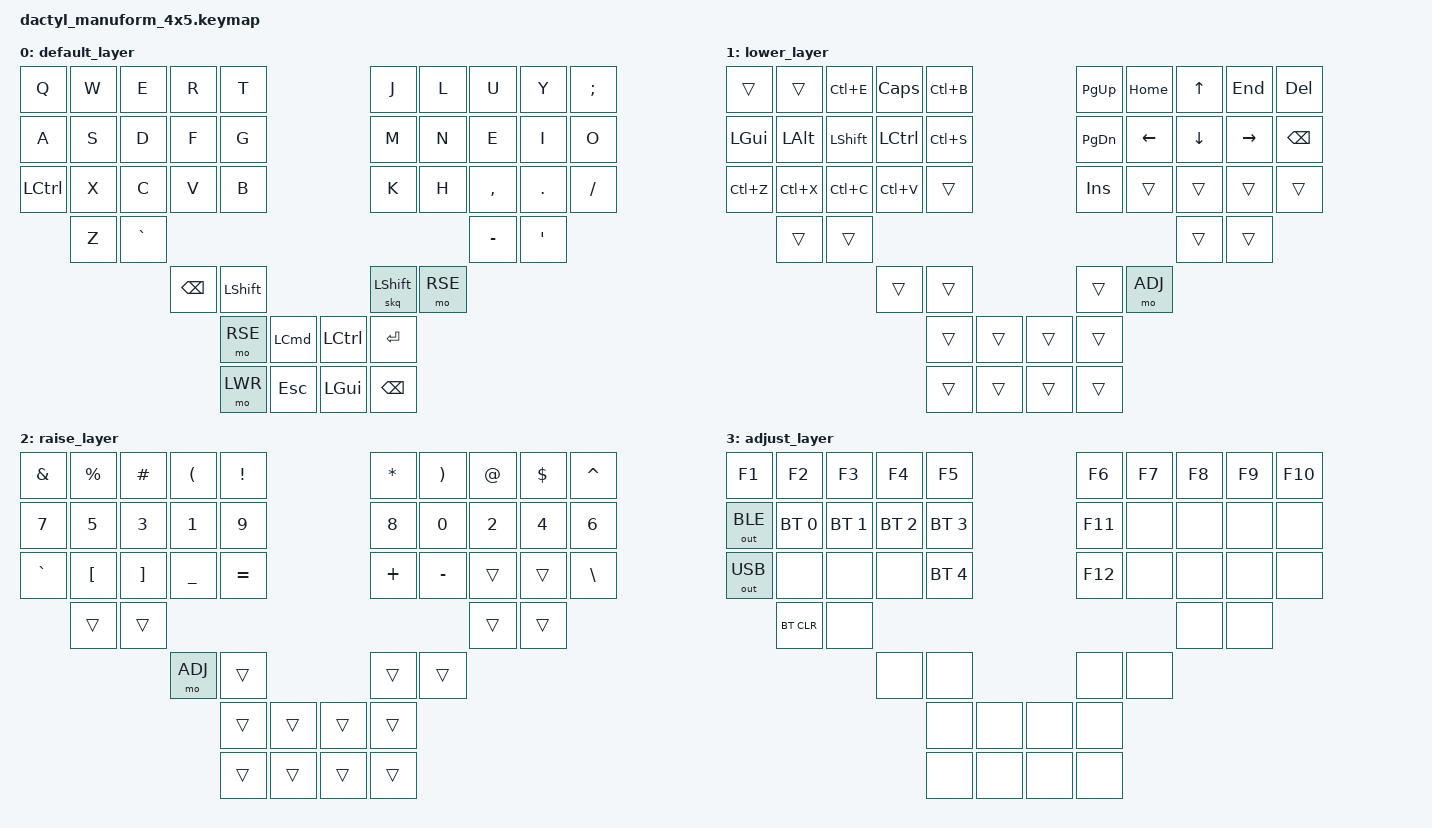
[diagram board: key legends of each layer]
#include <behaviors.dtsi>
#include <dt-bindings/zmk/keys.h>
#include <dt-bindings/zmk/bt.h>
#include <dt-bindings/zmk/outputs.h>

#define DEFAULT 0
#define LWR 1
#define RSE 2
#define ADJ 3

/ {
  behaviors {
    skq: sticky_key_quick_release {
		compatible = "zmk,behavior-sticky-key";
		label = "STICKY_KEY_QUICK_RELEASE";
		#binding-cells = <1>;
		bindings = <&kp>;
		release-after-ms = <500>;
		quick-release;
    };
	pht: positional_hold_tap {
		compatible = "zmk,behavior-hold-tap";
		label = "POSITIONAL_HOLD_TAP";
		#binding-cells = <2>;
		flavor = "hold-preferred";
		tapping-term-ms = <200>;
		quick-tap-ms = <200>;
		bindings = <&kp>, <&kp>;
	};
  };

    keymap {
        compatible = "zmk,keymap";

        default_layer {
            bindings = <
                &kp Q  &kp W   &kp E  &kp R  &kp T                                  &kp J  &kp L  &kp U     &kp Y   &kp SEMI
                &kp A  &kp S   &kp D  &kp F  &kp G                                  &kp M  &kp N  &kp E     &kp I   &kp O
             &kp LCTRL &kp X   &kp C  &kp V  &kp B                                  &kp K  &kp H  &kp COMMA &kp DOT &kp FSLH
                       &kp Z   &kp GRAVE                                                          &kp MINUS &kp SQT
                                        &kp BSPC  &kp LSHFT                      &skq LSHFT &mo RSE
                                                  &mo RSE   &kp LCMD   &kp LCTRL &kp RET
                                                  &mo LWR   &kp ESC    &kp LGUI  &kp BSPC
            >;
        };

        lower_layer {
            bindings = <
                &trans    &trans    &kp LC(E) &kp CAPS  &kp LC(B)      &kp PG_UP &kp HOME  &kp UP    &kp END   &kp DEL
                &kp LGUI  &kp LALT  &kp LSHFT &kp LCTRL &kp LC(S)      &kp PG_DN &kp LEFT  &kp DOWN  &kp RIGHT &kp BSPC
                &kp LC(Z) &kp LC(X) &kp LC(C) &kp LC(V) &trans         &kp INS   &trans    &trans    &trans    &trans
                          &trans    &trans                                                 &trans    &trans
                                             &trans &trans                    &trans &mo ADJ
                                                    &trans &trans      &trans &trans
                                                    &trans &trans      &trans &trans
            >;
        };

        raise_layer {
            bindings = <
    &kp AMPS  &kp PRCNT &kp HASH   &kp LPAR  &kp EXCL                      &kp ASTRK &kp RPAR  &kp AT    &kp DLLR  &kp CARET
    &kp N7    &kp N5    &kp N3     &kp N1    &kp N9                        &kp N8    &kp N0    &kp N2    &kp N4    &kp N6
    &kp GRAVE &kp LBKT  &kp RBKT   &kp UNDER &kp EQUAL                     &kp PLUS  &kp MINUS &trans    &trans    &kp BSLH
              &trans    &trans                                                                  &trans    &trans
                                   &mo ADJ  &trans                         &trans    &trans
                                            &trans    &trans       &trans  &trans
                                            &trans    &trans       &trans  &trans
            >;
        };

        adjust_layer {
            bindings = <
    &kp F1        &kp F2       &kp F3       &kp F4        &kp F5                        &kp F6  &kp F7  &kp F8   &kp F9   &kp F10
    &out OUT_BLE  &bt BT_SEL 0 &bt BT_SEL 1 &bt BT_SEL 2  &bt BT_SEL 3                  &kp F11 &none   &none    &none    &none
    &out OUT_USB  &none        &none        &none         &bt BT_SEL 4                  &kp F12 &none   &none    &none    &none 
                  &bt BT_CLR   &none                                                                    &none    &none 
                                      &none     &none                                 &none     &none 
                                                &none     &none             &none     &none 
                                                &none     &none             &none     &none 
            >;
        };
    };
};
